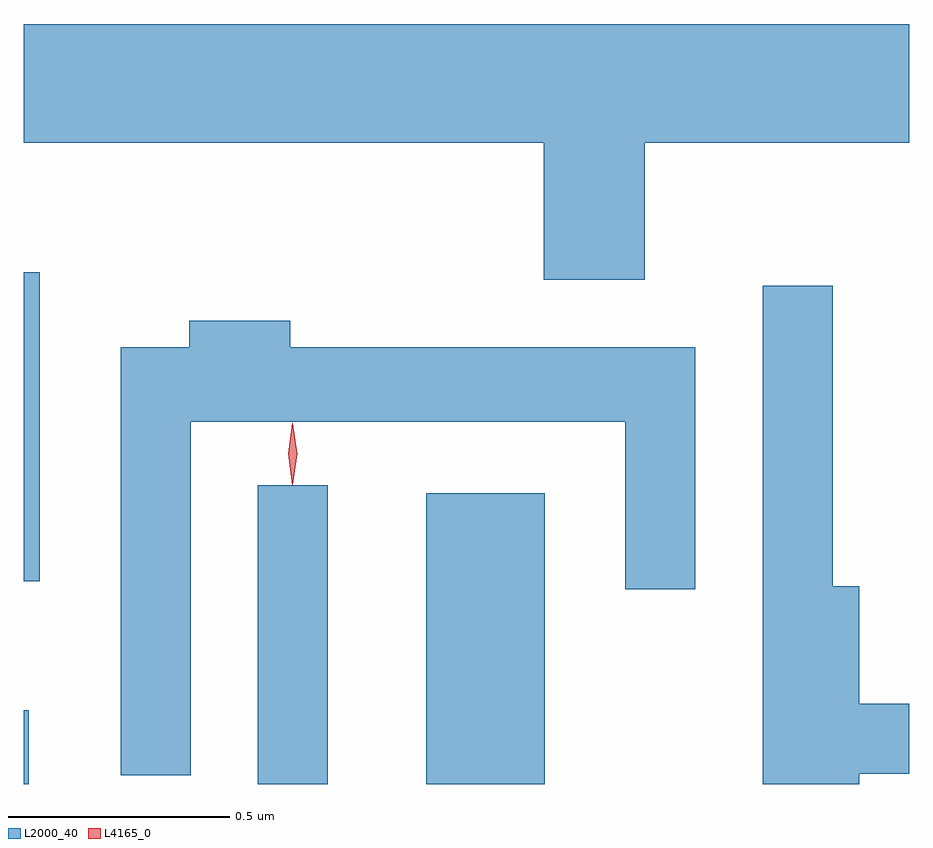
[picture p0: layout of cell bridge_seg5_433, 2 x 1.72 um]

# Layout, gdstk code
import gdstk
lib = gdstk.Library(unit=1e-6, precision=1e-09)
def R(c, l, rs):  # rectangles x0, y0, x1, y1
    for r in rs: c.add(gdstk.rectangle(r[:2], r[2:], *l))
def P(c, l, *ps):  # polygons
    for p in ps: c.add(gdstk.Polygon(p, *l))
L2000_40 = (2000, 40)
L4165_0 = (4165, 0)

bridge_seg5_433 = lib.new_cell('bridge_seg5_433')
R(bridge_seg5_433, L2000_40, [(572.507,1524.168,572.519,1524.334), (573.036,1524.168,573.194,1524.843), (573.416,1524.168,573.684,1524.824), (572.507,1524.626,572.544,1525.324)])
P(bridge_seg5_433, L2000_40, [(573.909,1525.616),(574.507,1525.616),(574.507,1525.884),(572.507,1525.884),(572.507,1525.616),(573.681,1525.616),(573.681,1525.306),(573.909,1525.306)],
  [(574.394,1524.191),(574.507,1524.191),(574.507,1524.349),(574.394,1524.349),(574.394,1524.614),(574.334,1524.614),(574.334,1525.293),(574.176,1525.293),(574.176,1524.168),(574.394,1524.168)],
  [(572.884,1524.986),(573.866,1524.986),(573.866,1524.608),(574.024,1524.608),(574.024,1525.154),(573.109,1525.154),(573.109,1525.214),(572.881,1525.214),(572.881,1525.154),(572.726,1525.154),(572.726,1524.188),(572.884,1524.188)])
P(bridge_seg5_433, L4165_0, [(573.114,1524.847),(573.113,1524.848),(573.104,1524.914),(573.113,1524.98),(573.114,1524.981),(573.114,1524.98),(573.124,1524.914),(573.114,1524.848)],
  [(573.114,1524.844),(573.105,1524.914),(573.114,1524.983),(573.115,1524.983),(573.115,1524.983),(573.125,1524.914),(573.115,1524.844),(573.115,1524.844)])

lib.write_gds('bridge_seg5_433.gds')
